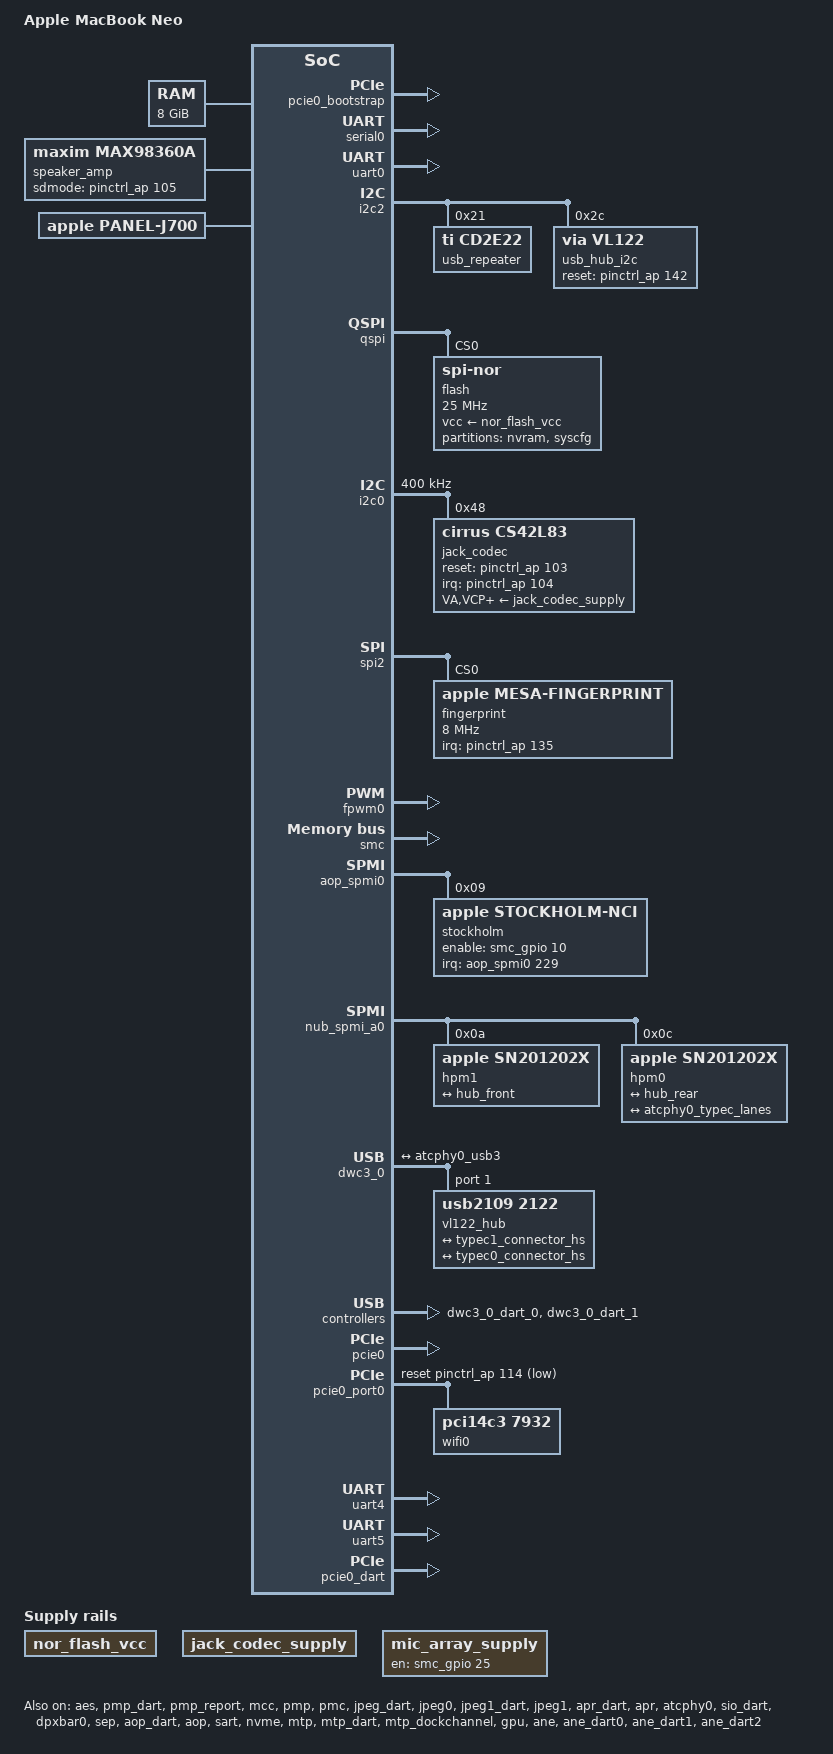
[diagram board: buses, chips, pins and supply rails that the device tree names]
// SPDX-License-Identifier: GPL-2.0+ OR MIT
/*
 * Apple MacBook Neo
 *
 * target-type: J700
 *
 * Copyright The Asahi Linux Contributors
 */

/dts-v1/;

#include "t8140.dtsi"
#include <dt-bindings/thermal/thermal.h>

/ {
	compatible = "apple,j700", "apple,t8140", "apple,arm-platform";
	model = "Apple MacBook Neo";
	chassis-type = "laptop";

	aliases {
		nvram = &nvram;
		spi0 = &qspi;
		i2c2 = &i2c2;
		atcphy0 = &atcphy0;
		gpu = &gpu;
		keyboard = &keyboard;
		sep = &sep;
		serial0 = &serial0;
		serial1 = &uart4;
		serial2 = &uart5;
		serial3 = &uart0;
		pmp = &pmp;
		/* First the RTC that can wake the system */
		rtc0 = &pmu_rtc;
		rtc1 = &smc_rtc;
		wifi0 = &wifi0;
		/* used by the loader to hand over the display */
		dcp = &dcp;
		disp0 = &display;
		disp0-piodma = &disp0_piodma;
		/* and the SIO, with its firmware */
		sio = &sio;
	};

	chosen {
		#address-cells = <2>;
		#size-cells = <2>;
		ranges;
		stdout-path = "serial0";
		/*
		 * Temporary: the secondary cores lose state in WFIT and the
		 * kernel does not yet stop using WFxT on T8140 by itself.
		 */
		bootargs = "arm64.nowfxt";

		framebuffer0: framebuffer@0 {
			compatible = "apple,simple-framebuffer", "simple-framebuffer";
			reg = <0 0 0 0>; /* To be filled by loader */
			power-domains = <&ps_disp_cpu>;
			/* Format properties will be added by loader */
			status = "disabled";
			panel = <&panel>;
			post-init-providers = <&panel>;
		};
	};

	reserved-memory {
		#address-cells = <2>;
		#size-cells = <2>;
		ranges;
		/* To be filled by loader */
	};

	memory@10000000000 {
		device_type = "memory";
		reg = <0x100 0 0x2 0>; /* To be filled by loader */
	};

	/*
	 * The boot NOR runs from a PMU rail that is on whenever the SoC is
	 * and that no OS switches. The ADT gives the flash no supply.
	 */
	nor_flash_vcc: regulator-nor-flash-vcc {
		compatible = "regulator-fixed";
		regulator-name = "nor-flash-vcc";
		regulator-always-on;
	};

	/*
	 * The J700 is fanless: the CPUs are the only cooling devices.  Every
	 * die sensor gets a zone that throttles both clusters, since they share
	 * one die and one heat spreader.  The power allocator splits the budget
	 * by the energy models, with the E cluster weighted three to one: its
	 * cores do several times more work per watt, so all-core loads keep
	 * them at full speed and trim the P cores instead.
	 *
	 * The SMC refreshes these readings about once a second, far slower
	 * than the die moves, so these zones are the slow outer loop.  The
	 * fast loop is the PMP's: it runs a PI controller on its own die
	 * sensors every few milliseconds and its effort caps each cluster
	 * through cpufreq (apple,fast-die-effort), as on macOS.  Under a
	 * sustained all-core load macOS holds the hottest SMC die reading at
	 * 105 C with the CPUs drawing 4.1-4.3 W, so the control trip is 105 C
	 * and sustainable-power is 4.2 W.  The governor derives its gains from
	 * that and the switch-on to control gap (91/183/18 mW per C).  Measured
	 * on 300 s of stress-ng on every CPU, against the earlier 95 C and
	 * 1.5 W: 9.4% more work, P cluster 3121 instead of 2476 MHz, CPUs
	 * 3.8 instead of 2.5 W, hottest die mean 102.8 C, p99 106.0 C, max
	 * 106.1 C, against the 110 C critical trip.  The P clock dithers
	 * between adjacent states (2916-3336 MHz).  The switch-on trip sits
	 * above the idle temperature with schedutil (48-53 C), so the
	 * controller, and with it any integral wind-up, resets whenever the
	 * machine rests.
	 *
	 * The governor grants no power to a cooling device that requests none,
	 * so above the switch-on trip an idle E cluster is sent to its lowest
	 * OPP, and work that wakes there runs at 816 MHz until the next
	 * evaluation.  With the performance governor the die idles at 58-70 C,
	 * above that trip, and in a ten-minute idle the E cluster spent 40% of
	 * its time capped this way.  The E maps therefore stop at cooling
	 * state 3, 1464 MHz, where the energy model puts the cost of the
	 * cluster's work within 0.5% of 816 MHz.  The lowest power of both
	 * clusters, 0.73 W, stays well under the 1.1 W sustainable on
	 * floating-point loads.
	 */
	thermal-zones {
		cpu-e0-thermal {
			polling-delay-passive = <500>;
			polling-delay = <500>;
			thermal-sensors = <&smc_hwmon 0>;	/* Te05 */
			sustainable-power = <4200>;

			trips {
				cpu_e0_alert: trip-alert {
					temperature = <58000>;
					hysteresis = <2000>;
					type = "passive";
				};

				cpu_e0_control: trip-control {
					temperature = <105000>;
					hysteresis = <2000>;
					type = "passive";
				};

				trip-critical {
					temperature = <110000>;
					hysteresis = <0>;
					type = "critical";
				};
			};

			cooling-maps {
				map0 {
					trip = <&cpu_e0_control>;
					cooling-device =
						<&cpu_p0 THERMAL_NO_LIMIT THERMAL_NO_LIMIT>,
						<&cpu_p1 THERMAL_NO_LIMIT THERMAL_NO_LIMIT>;
					contribution = <1024>;
				};

				map1 {
					trip = <&cpu_e0_control>;
					cooling-device =
						<&cpu_e0 THERMAL_NO_LIMIT 3>,
						<&cpu_e1 THERMAL_NO_LIMIT 3>,
						<&cpu_e2 THERMAL_NO_LIMIT 3>,
						<&cpu_e3 THERMAL_NO_LIMIT 3>;
					contribution = <3072>;
				};
			};
		};

		cpu-e1-thermal {
			polling-delay-passive = <500>;
			polling-delay = <500>;
			thermal-sensors = <&smc_hwmon 1>;	/* Te0S */
			sustainable-power = <4200>;

			trips {
				cpu_e1_alert: trip-alert {
					temperature = <58000>;
					hysteresis = <2000>;
					type = "passive";
				};

				cpu_e1_control: trip-control {
					temperature = <105000>;
					hysteresis = <2000>;
					type = "passive";
				};

				trip-critical {
					temperature = <110000>;
					hysteresis = <0>;
					type = "critical";
				};
			};

			cooling-maps {
				map0 {
					trip = <&cpu_e1_control>;
					cooling-device =
						<&cpu_p0 THERMAL_NO_LIMIT THERMAL_NO_LIMIT>,
						<&cpu_p1 THERMAL_NO_LIMIT THERMAL_NO_LIMIT>;
					contribution = <1024>;
				};

				map1 {
					trip = <&cpu_e1_control>;
					cooling-device =
						<&cpu_e0 THERMAL_NO_LIMIT 3>,
						<&cpu_e1 THERMAL_NO_LIMIT 3>,
						<&cpu_e2 THERMAL_NO_LIMIT 3>,
						<&cpu_e3 THERMAL_NO_LIMIT 3>;
					contribution = <3072>;
				};
			};
		};

		cpu-p0-thermal {
			polling-delay-passive = <500>;
			polling-delay = <500>;
			thermal-sensors = <&smc_hwmon 2>;	/* Tp01 */
			sustainable-power = <4200>;

			trips {
				cpu_p0_alert: trip-alert {
					temperature = <58000>;
					hysteresis = <2000>;
					type = "passive";
				};

				cpu_p0_control: trip-control {
					temperature = <105000>;
					hysteresis = <2000>;
					type = "passive";
				};

				trip-critical {
					temperature = <110000>;
					hysteresis = <0>;
					type = "critical";
				};
			};

			cooling-maps {
				map0 {
					trip = <&cpu_p0_control>;
					cooling-device =
						<&cpu_p0 THERMAL_NO_LIMIT THERMAL_NO_LIMIT>,
						<&cpu_p1 THERMAL_NO_LIMIT THERMAL_NO_LIMIT>;
					contribution = <1024>;
				};

				map1 {
					trip = <&cpu_p0_control>;
					cooling-device =
						<&cpu_e0 THERMAL_NO_LIMIT 3>,
						<&cpu_e1 THERMAL_NO_LIMIT 3>,
						<&cpu_e2 THERMAL_NO_LIMIT 3>,
						<&cpu_e3 THERMAL_NO_LIMIT 3>;
					contribution = <3072>;
				};
			};
		};

		cpu-p1-thermal {
			polling-delay-passive = <500>;
			polling-delay = <500>;
			thermal-sensors = <&smc_hwmon 3>;	/* Tp05 */
			sustainable-power = <4200>;

			trips {
				cpu_p1_alert: trip-alert {
					temperature = <58000>;
					hysteresis = <2000>;
					type = "passive";
				};

				cpu_p1_control: trip-control {
					temperature = <105000>;
					hysteresis = <2000>;
					type = "passive";
				};

				trip-critical {
					temperature = <110000>;
					hysteresis = <0>;
					type = "critical";
				};
			};

			cooling-maps {
				map0 {
					trip = <&cpu_p1_control>;
					cooling-device =
						<&cpu_p0 THERMAL_NO_LIMIT THERMAL_NO_LIMIT>,
						<&cpu_p1 THERMAL_NO_LIMIT THERMAL_NO_LIMIT>;
					contribution = <1024>;
				};

				map1 {
					trip = <&cpu_p1_control>;
					cooling-device =
						<&cpu_e0 THERMAL_NO_LIMIT 3>,
						<&cpu_e1 THERMAL_NO_LIMIT 3>,
						<&cpu_e2 THERMAL_NO_LIMIT 3>,
						<&cpu_e3 THERMAL_NO_LIMIT 3>;
					contribution = <3072>;
				};
			};
		};

		cpu-p2-thermal {
			polling-delay-passive = <500>;
			polling-delay = <500>;
			thermal-sensors = <&smc_hwmon 4>;	/* Tp09 */
			sustainable-power = <4200>;

			trips {
				cpu_p2_alert: trip-alert {
					temperature = <58000>;
					hysteresis = <2000>;
					type = "passive";
				};

				cpu_p2_control: trip-control {
					temperature = <105000>;
					hysteresis = <2000>;
					type = "passive";
				};

				trip-critical {
					temperature = <110000>;
					hysteresis = <0>;
					type = "critical";
				};
			};

			cooling-maps {
				map0 {
					trip = <&cpu_p2_control>;
					cooling-device =
						<&cpu_p0 THERMAL_NO_LIMIT THERMAL_NO_LIMIT>,
						<&cpu_p1 THERMAL_NO_LIMIT THERMAL_NO_LIMIT>;
					contribution = <1024>;
				};

				map1 {
					trip = <&cpu_p2_control>;
					cooling-device =
						<&cpu_e0 THERMAL_NO_LIMIT 3>,
						<&cpu_e1 THERMAL_NO_LIMIT 3>,
						<&cpu_e2 THERMAL_NO_LIMIT 3>,
						<&cpu_e3 THERMAL_NO_LIMIT 3>;
					contribution = <3072>;
				};
			};
		};

		cpu-p3-thermal {
			polling-delay-passive = <500>;
			polling-delay = <500>;
			thermal-sensors = <&smc_hwmon 5>;	/* Tp0D */
			sustainable-power = <4200>;

			trips {
				cpu_p3_alert: trip-alert {
					temperature = <58000>;
					hysteresis = <2000>;
					type = "passive";
				};

				cpu_p3_control: trip-control {
					temperature = <105000>;
					hysteresis = <2000>;
					type = "passive";
				};

				trip-critical {
					temperature = <110000>;
					hysteresis = <0>;
					type = "critical";
				};
			};

			cooling-maps {
				map0 {
					trip = <&cpu_p3_control>;
					cooling-device =
						<&cpu_p0 THERMAL_NO_LIMIT THERMAL_NO_LIMIT>,
						<&cpu_p1 THERMAL_NO_LIMIT THERMAL_NO_LIMIT>;
					contribution = <1024>;
				};

				map1 {
					trip = <&cpu_p3_control>;
					cooling-device =
						<&cpu_e0 THERMAL_NO_LIMIT 3>,
						<&cpu_e1 THERMAL_NO_LIMIT 3>,
						<&cpu_e2 THERMAL_NO_LIMIT 3>,
						<&cpu_e3 THERMAL_NO_LIMIT 3>;
					contribution = <3072>;
				};
			};
		};
	};

	/*
	 * The headphone codec runs from PMU rails that are on whenever the
	 * SoC is and that no OS switches. The ADT gives the codec a reset
	 * line and no supply or power function.
	 */
	jack_codec_supply: regulator-jack-codec {
		compatible = "regulator-fixed";
		regulator-name = "jack-codec";
		regulator-always-on;
	};

	/*
	 * The mic array's rail: SMC pcIO output 25, the ADT's
	 * function-input_power_enable. macOS switches it around each capture.
	 */
	mic_array_supply: regulator-mic-array {
		compatible = "regulator-fixed";
		regulator-name = "mic-array";
		gpio = <&smc_gpio 25 GPIO_ACTIVE_HIGH>;
		enable-active-high;
	};
};

#include "isp-imx558.dtsi"

/*
 * A J700 has one of the two video encoders, and its ADT describes the one
 * the unit has: ave (VENC0) or ave1 (VENC1). Both stay disabled here, with
 * encoder 0's power states and performance report; the bootloader enables
 * the encoder the ADT describes, its DARTs and its power states. On a unit
 * with ave1, VENC0_SYS refuses its target, so nothing may enable it there.
 */
&pmp_report_ave0 {
	status = "disabled";
};

&ps_venc0_sys {
	status = "disabled";
};

&ps_venc0_dma {
	status = "disabled";
};

&ps_venc0_pipe4 {
	status = "disabled";
};

&ps_venc0_pipe5 {
	status = "disabled";
};

&ps_venc0_me0 {
	status = "disabled";
};

&ps_venc0_me1 {
	status = "disabled";
};

&serial0 {
	status = "okay";
};

&uart0 {
	/* The PMGR clock provider is not enabled on this SoC yet. */
	clocks = <&clkref>, <&clkref>;
	status = "okay";
};

/* SIO AES engine, software keys only. */
&aes {
	status = "okay";
};

&pmp_dart {
	status = "okay";
};

&pmp_mbox {
	status = "okay";
};

&pmp_report {
	status = "okay";
};

&mcc {
	status = "okay";
};

&pmp {
	status = "okay";
};

&pmc {
	/*
	 * System power above DCS state 0 at each DCS state, GPU-bound.
	 *
	 * No thermal zone limits the DCS rail: the PMP drops its DCS vote
	 * when the GPU idles, and a power allocator zone on Tp0t made the
	 * limit oscillate between states 1 and 4 under GPU load. Without
	 * it Tp0t stays below the 110 C critical trips of the CPU zones.
	 */
	apple,dcs-power-microwatt = <0 919000 1453000 2058000 2407000>;
	status = "okay";
};

&pinctrl_ap {
	status = "okay";
};

&jpeg_dart {
	status = "okay";
};

&jpeg0 {
	status = "okay";
};

&jpeg1_dart {
	status = "okay";
};

&jpeg1 {
	status = "okay";
};

&apr_dart {
	status = "okay";
};

&apr {
	status = "okay";
};

&i2c2 {
	status = "okay";

	usb_repeater: phy@21 {
		compatible = "ti,cd2e22";
		reg = <0x21>;
		#phy-cells = <0>;
		ti,port = <0>;

		/* apple,tunable is filled from usb-repeater-i2c by the bootloader. */
	};

	usb_hub_i2c: usb-hub@2c {
		compatible = "via,vl122";
		reg = <0x2c>;
		reset-gpios = <&pinctrl_ap 142 GPIO_ACTIVE_HIGH>;
		usb-hub = <&vl122_hub>;

		/*
		 * apple,tunable-vl, apple,tunable-vlf0 and apple,tunable-gl are
		 * filled from usb-hub-i2c by the bootloader.
		 */
	};
};

&atcphy0 {
	phys = <&usb_repeater>;
	phy-names = "eusb2-repeater";
};

&qspi {
	status = "okay";

	flash@0 {
		compatible = "jedec,spi-nor";
		reg = <0>;
		spi-max-frequency = <25000000>;
		vcc-supply = <&nor_flash_vcc>;

		partitions {
			compatible = "fixed-partitions";
			#address-cells = <1>;
			#size-cells = <1>;

			nvram: partition@24000 {
				label = "nvram";
				reg = <0x24000 0x1d0000>;
			};

			/*
			 * syscfg factory data. Listed after nvram so the nvram
			 * MTD index stays the same.
			 */
			partition@0 {
				label = "syscfg";
				reg = <0x0 0x24000>;
				read-only;
			};
		};
	};
};

&dcp_mbox {
	status = "okay";
};

&dcp_secure_mbox {
	status = "okay";
};

/* The SIO itself is enabled by the loader that hands it over. */
&sio_dart {
	status = "okay";
};

&sio_mbox {
	status = "okay";
};

&dcp {
	/*
	 * The camera has no indicator light: the kernel shows its software
	 * camera indicator in swap slot 1, above the surface DRM uses. Slot 2
	 * stays hidden under an opaque primary such as GNOME's.
	 */
	apple,camera-indicator-surface = <1>;

	/* 2408x1506 at 219 ppi; 525 nits peak from the backlight node */
	panel: panel {
		compatible = "apple,panel-j700", "apple,panel";
		width-mm = <279>;
		height-mm = <175>;
		apple,max-brightness = <525>;
	};
};

&dpxbar0 {
	status = "okay";
};

&cpuidle {
	status = "okay";
};

&i2c0 {
	status = "okay";
	/* The ADT gives the codec, alone on this bus, a 2500 ns SCL period. */
	clock-frequency = <400000>;

	jack_codec: codec@48 {
		compatible = "cirrus,cs42l83";
		reg = <0x48>;
		VA-supply = <&jack_codec_supply>;
		VCP-supply = <&jack_codec_supply>;
		VD_FILT-supply = <&jack_codec_supply>;
		VL-supply = <&jack_codec_supply>;
		VP-supply = <&jack_codec_supply>;
		reset-gpios = <&pinctrl_ap 103 GPIO_ACTIVE_HIGH>;
		interrupt-parent = <&pinctrl_ap>;
		interrupts = <104 IRQ_TYPE_LEVEL_LOW>;
		#sound-dai-cells = <0>;
		cirrus,ts-inv = <1>;
		sound-name-prefix = "Jack";
	};
};

&sep {
	status = "okay";
};

/*
 * Touch ID sensor.  Its rails are switched by the SMC through the pcLD key
 * rather than by a GPIO; the rail words are given in power-on order.  The
 * calibration file is per-device factory data and is not redistributable.
 */
&spi2 {
	status = "okay";

	fingerprint@0 {
		compatible = "apple,mesa-fingerprint";
		reg = <0>;
		spi-max-frequency = <8000000>;
		spi-cpol;
		spi-cs-setup-delay-ns = <20>;
		spi-cs-hold-delay-ns = <20>;
		interrupt-parent = <&pinctrl_ap>;
		interrupts = <135 IRQ_TYPE_EDGE_RISING>;
		apple,smc = <&smc>;
		apple,smc-power-key = "pcLD";
		apple,smc-power-rails = <0x01010000 0x01020000>;
		firmware-name = "apple/mesacal-j700.bin";
	};
};

&isp {
	apple,platform-id = <0x70>;
	apple,temporal-filter = <1>;
	apple,camera-indicator = <&dcp>;
};

&aop_dart {
	status = "okay";
};

&aop_mbox {
	status = "okay";
};

&aop_setup_mbox {
	status = "okay";
};

&aop {
	status = "okay";
};

&aop_als {
	firmware-name = "apple/j700-aop-als-cal.bin";
};

&aop_audio {
	apple,chassis-name = "J700";
	apple,machine-kind = "MacBook Neo";
	mic-supply = <&mic_array_supply>;
};

&admac_leap_ns {
	status = "okay";
};

&admac_base_ns {
	status = "okay";
};

&admac_leap_s {
	status = "okay";
};

/ {
	speaker_amp: audio-amplifier {
		compatible = "maxim,max98360a";
		sdmode-gpios = <&pinctrl_ap 105 GPIO_ACTIVE_HIGH>;
		#sound-dai-cells = <0>;
		sound-name-prefix = "Speaker";
	};
	sound {
		compatible = "apple,j700-macaudio", "apple,macaudio";
		model = "MacBook Neo J700";
		#address-cells = <1>;
		#size-cells = <0>;

		dai-link@0 {
			reg = <0>;
			link-name = "Headphone Jack";

			cpu {
				sound-dai = <&aop_audio 0>;
			};
			codec {
				sound-dai = <&jack_codec>;
			};
		};

		dai-link@1 {
			reg = <1>;
			link-name = "Speaker";

			cpu {
				sound-dai = <&aop_audio 4>;
			};
			codec {
				sound-dai = <&speaker_amp>;
			};
		};
	};
};

/* A spare PWM channel for developers; no consumer is known. */
&fpwm0 {
	status = "okay";
};

&smc {
	status = "okay";
};

/*
 * The AOP's GPIO bank. The AOP keeps interrupt groups 0-3; the AP's are 4-6
 * (AIC 384-386). No consumer requests a line yet. The reserved lines are the
 * ones the firmware has already configured away from the bank's reset state
 * by the time Linux boots; their users are not known, so they stay off limits.
 */
&pinctrl_aop {
	gpio-reserved-ranges = <18 1>, <21 1>, <27 9>, <46 2>, <50 7>;
	interrupts = <AIC_IRQ 384 IRQ_TYPE_LEVEL_HIGH>,
		     <AIC_IRQ 385 IRQ_TYPE_LEVEL_HIGH>,
		     <AIC_IRQ 386 IRQ_TYPE_LEVEL_HIGH>;
	apple,irq-group-base = <4>;
	status = "okay";
};

/*
 * The always-on GPIO bank, as on the J616s: the AP takes none of its
 * interrupts. Line 20 is the secure-repair enable and is never requested;
 * the other reserved lines are configured by the firmware before Linux
 * boots (line 27 is driven high) and have no known user.
 */
&pinctrl_nub {
	gpio-reserved-ranges = <5 1>, <10 1>, <20 1>, <23 1>, <27 3>;
	status = "okay";
	/delete-property/ interrupt-controller;
	/delete-property/ #interrupt-cells;
	/delete-property/ interrupts;
};

&smc_gpio {
	apple,pcio-templates = <10 0x800000 0xa0000>,
			       <25 0x0 0x190000>;
};

&aop_spmi0 {
	status = "okay";

	stockholm: nfc@9 {
		compatible = "apple,stockholm-nci";
		reg = <9 SPMI_USID>;
		interrupt-parent = <&aop_spmi0>;
		interrupts = <229 IRQ_TYPE_EDGE_RISING>,
			     <230 IRQ_TYPE_EDGE_RISING>,
			     <227 IRQ_TYPE_EDGE_RISING>;
		interrupt-names = "host-wake", "data-ready", "error";
		enable-gpios = <&smc_gpio 10 GPIO_ACTIVE_HIGH>;
	};
};

&smc_hwmon {
	apple,thermal-pressure-key = "mTPL";

	/*
	 * Further channels, reported to userspace. They follow the six CPU
	 * die temperatures in t8140.dtsi, which the thermal zones above
	 * refer to by index.
	 * Every key below is in the J700 SMC's key table as a read-only
	 * float, reads 10-99 C and moves between samples. The names follow
	 * the SMC key groups and are not otherwise verified.
	 */

	/* Channel 6: reads at or above every CPU die sensor under GPU load. */
	temperature-Tp0t {
		apple,key-id = "Tp0t";
		label = "SMC Tp0t";
	};

	temperature-TH0p {
		apple,key-id = "TH0p";
		label = "Storage (NAND)";
	};

	temperature-TW0p {
		apple,key-id = "TW0p";
		label = "Wi-Fi Module";
	};

	temperature-TUCp {
		apple,key-id = "TUCp";
		label = "USB-C Port";
	};

	temperature-TaTp {
		apple,key-id = "TaTp";
		label = "Ambient";
	};

	temperature-TCMz {
		apple,key-id = "TCMz";
		label = "Charger";
	};

	temperature-Ts0A {
		apple,key-id = "Ts0A";
		label = "Chassis 1";
	};

	temperature-Ts0I {
		apple,key-id = "Ts0I";
		label = "Chassis 2";
	};

	temperature-Ts0M {
		apple,key-id = "Ts0M";
		label = "Chassis 3";
	};

	/* The remaining live temperature keys; placement unknown */
	temperature-TBLp {
		apple,key-id = "TBLp";
		label = "SMC TBLp";
	};

	temperature-TCMb {
		apple,key-id = "TCMb";
		label = "SMC TCMb";
	};

	temperature-TPD0 {
		apple,key-id = "TPD0";
		label = "SMC TPD0";
	};

	temperature-TPD1 {
		apple,key-id = "TPD1";
		label = "SMC TPD1";
	};

	temperature-TPD2 {
		apple,key-id = "TPD2";
		label = "SMC TPD2";
	};

	temperature-TPD3 {
		apple,key-id = "TPD3";
		label = "SMC TPD3";
	};

	temperature-TPD4 {
		apple,key-id = "TPD4";
		label = "SMC TPD4";
	};

	temperature-TPD5 {
		apple,key-id = "TPD5";
		label = "SMC TPD5";
	};

	temperature-TPD6 {
		apple,key-id = "TPD6";
		label = "SMC TPD6";
	};

	temperature-TR5p {
		apple,key-id = "TR5p";
		label = "SMC TR5p";
	};

	temperature-TRD0 {
		apple,key-id = "TRD0";
		label = "SMC TRD0";
	};

	temperature-TRD1 {
		apple,key-id = "TRD1";
		label = "SMC TRD1";
	};

	temperature-TRD2 {
		apple,key-id = "TRD2";
		label = "SMC TRD2";
	};

	temperature-TRD3 {
		apple,key-id = "TRD3";
		label = "SMC TRD3";
	};

	temperature-TS0p {
		apple,key-id = "TS0p";
		label = "SMC TS0p";
	};

	temperature-TS1p {
		apple,key-id = "TS1p";
		label = "SMC TS1p";
	};

	temperature-TTSp {
		apple,key-id = "TTSp";
		label = "SMC TTSp";
	};

	temperature-TVA0 {
		apple,key-id = "TVA0";
		label = "SMC TVA0";
	};

	temperature-TVA1 {
		apple,key-id = "TVA1";
		label = "SMC TVA1";
	};

	temperature-TVD0 {
		apple,key-id = "TVD0";
		label = "SMC TVD0";
	};

	temperature-TVMR {
		apple,key-id = "TVMR";
		label = "SMC TVMR";
	};

	temperature-TVS0 {
		apple,key-id = "TVS0";
		label = "SMC TVS0";
	};

	temperature-TVS1 {
		apple,key-id = "TVS1";
		label = "SMC TVS1";
	};

	temperature-TVS3 {
		apple,key-id = "TVS3";
		label = "SMC TVS3";
	};

	temperature-TVS4 {
		apple,key-id = "TVS4";
		label = "SMC TVS4";
	};

	temperature-TVmS {
		apple,key-id = "TVmS";
		label = "SMC TVmS";
	};

	temperature-Te04 {
		apple,key-id = "Te04";
		label = "SMC Te04";
	};

	temperature-Te06 {
		apple,key-id = "Te06";
		label = "SMC Te06";
	};

	temperature-Te0R {
		apple,key-id = "Te0R";
		label = "SMC Te0R";
	};

	temperature-Te0T {
		apple,key-id = "Te0T";
		label = "SMC Te0T";
	};

	temperature-Tex0 {
		apple,key-id = "Tex0";
		label = "SMC Tex0";
	};

	temperature-Tex1 {
		apple,key-id = "Tex1";
		label = "SMC Tex1";
	};

	temperature-Tex2 {
		apple,key-id = "Tex2";
		label = "SMC Tex2";
	};

	temperature-Tex3 {
		apple,key-id = "Tex3";
		label = "SMC Tex3";
	};

	temperature-Tp00 {
		apple,key-id = "Tp00";
		label = "SMC Tp00";
	};

	temperature-Tp02 {
		apple,key-id = "Tp02";
		label = "SMC Tp02";
	};

	temperature-Tp04 {
		apple,key-id = "Tp04";
		label = "SMC Tp04";
	};

	temperature-Tp06 {
		apple,key-id = "Tp06";
		label = "SMC Tp06";
	};

	temperature-Tp08 {
		apple,key-id = "Tp08";
		label = "SMC Tp08";
	};

	temperature-Tp0A {
		apple,key-id = "Tp0A";
		label = "SMC Tp0A";
	};

	temperature-Tp0C {
		apple,key-id = "Tp0C";
		label = "SMC Tp0C";
	};

	temperature-Tp0E {
		apple,key-id = "Tp0E";
		label = "SMC Tp0E";
	};

	temperature-Tp0l {
		apple,key-id = "Tp0l";
		label = "SMC Tp0l";
	};

	temperature-Tp0m {
		apple,key-id = "Tp0m";
		label = "SMC Tp0m";
	};

	temperature-Tp0n {
		apple,key-id = "Tp0n";
		label = "SMC Tp0n";
	};

	temperature-Tp0o {
		apple,key-id = "Tp0o";
		label = "SMC Tp0o";
	};

	temperature-Tp0q {
		apple,key-id = "Tp0q";
		label = "SMC Tp0q";
	};

	temperature-Tpx0 {
		apple,key-id = "Tpx0";
		label = "SMC Tpx0";
	};

	temperature-Tpx1 {
		apple,key-id = "Tpx1";
		label = "SMC Tpx1";
	};

	temperature-Tpx2 {
		apple,key-id = "Tpx2";
		label = "SMC Tpx2";
	};

	temperature-Tpx3 {
		apple,key-id = "Tpx3";
		label = "SMC Tpx3";
	};

	temperature-Ts00 {
		apple,key-id = "Ts00";
		label = "SMC Ts00";
	};

	temperature-Ts01 {
		apple,key-id = "Ts01";
		label = "SMC Ts01";
	};

	temperature-Ts02 {
		apple,key-id = "Ts02";
		label = "SMC Ts02";
	};

	temperature-Ts04 {
		apple,key-id = "Ts04";
		label = "SMC Ts04";
	};

	temperature-Ts05 {
		apple,key-id = "Ts05";
		label = "SMC Ts05";
	};

	temperature-Ts06 {
		apple,key-id = "Ts06";
		label = "SMC Ts06";
	};

	temperature-Ts08 {
		apple,key-id = "Ts08";
		label = "SMC Ts08";
	};

	temperature-Ts09 {
		apple,key-id = "Ts09";
		label = "SMC Ts09";
	};

	temperature-Ts0C {
		apple,key-id = "Ts0C";
		label = "SMC Ts0C";
	};

	temperature-Ts0D {
		apple,key-id = "Ts0D";
		label = "SMC Ts0D";
	};

	temperature-Ts0E {
		apple,key-id = "Ts0E";
		label = "SMC Ts0E";
	};

	temperature-Ts0G {
		apple,key-id = "Ts0G";
		label = "SMC Ts0G";
	};

	temperature-Ts0H {
		apple,key-id = "Ts0H";
		label = "SMC Ts0H";
	};

	temperature-Ts0K {
		apple,key-id = "Ts0K";
		label = "SMC Ts0K";
	};

	temperature-Ts0L {
		apple,key-id = "Ts0L";
		label = "SMC Ts0L";
	};

	temperature-Tsx0 {
		apple,key-id = "Tsx0";
		label = "SMC Tsx0";
	};

	temperature-Tsx1 {
		apple,key-id = "Tsx1";
		label = "SMC Tsx1";
	};

	/*
	 * GPU temperatures, last so the indexed channels above keep their
	 * numbers. The SMC publishes them only while the GPU is powered; with
	 * the GPU off they read -4.0 to 0.2 C placeholders, which are no data.
	 */
	temperature-Tg04 {
		apple,key-id = "Tg04";
		label = "GPU Tg04";
		apple,no-data-below-millicelsius = <10000>;
	};

	temperature-Tg05 {
		apple,key-id = "Tg05";
		label = "GPU Tg05";
		apple,no-data-below-millicelsius = <10000>;
	};

	temperature-Tg0C {
		apple,key-id = "Tg0C";
		label = "GPU Tg0C";
		apple,no-data-below-millicelsius = <10000>;
	};

	temperature-Tg0D {
		apple,key-id = "Tg0D";
		label = "GPU Tg0D";
		apple,no-data-below-millicelsius = <10000>;
	};

	temperature-Tg0K {
		apple,key-id = "Tg0K";
		label = "GPU Tg0K";
		apple,no-data-below-millicelsius = <10000>;
	};

	temperature-Tg0L {
		apple,key-id = "Tg0L";
		label = "GPU Tg0L";
		apple,no-data-below-millicelsius = <10000>;
	};

	temperature-Tg0d {
		apple,key-id = "Tg0d";
		label = "GPU Tg0d";
		apple,no-data-below-millicelsius = <10000>;
	};

	temperature-Tg0e {
		apple,key-id = "Tg0e";
		label = "GPU Tg0e";
		apple,no-data-below-millicelsius = <10000>;
	};

	/*
	 * Current, power and voltage rails: every other read-only float
	 * I*, P* and V* key in the J700 SMC's key table. The units follow
	 * the prefix (amperes, watts, volts); the rails they measure are not
	 * known, so they carry the raw key. Some read zero while idle.
	 */
	current-IBat {
		apple,key-id = "IBat";
		label = "SMC IBat";
	};

	current-IBws {
		apple,key-id = "IBws";
		label = "SMC IBws";
	};

	current-IP0b {
		apple,key-id = "IP0b";
		label = "SMC IP0b";
	};

	current-IP1b {
		apple,key-id = "IP1b";
		label = "SMC IP1b";
	};

	current-IP1l {
		apple,key-id = "IP1l";
		label = "SMC IP1l";
	};

	current-IP2b {
		apple,key-id = "IP2b";
		label = "SMC IP2b";
	};

	current-IP3b {
		apple,key-id = "IP3b";
		label = "SMC IP3b";
	};

	current-IP3l {
		apple,key-id = "IP3l";
		label = "SMC IP3l";
	};

	current-IP4b {
		apple,key-id = "IP4b";
		label = "SMC IP4b";
	};

	current-IP4l {
		apple,key-id = "IP4l";
		label = "SMC IP4l";
	};

	current-IP5b {
		apple,key-id = "IP5b";
		label = "SMC IP5b";
	};

	current-IP5l {
		apple,key-id = "IP5l";
		label = "SMC IP5l";
	};

	current-IP6b {
		apple,key-id = "IP6b";
		label = "SMC IP6b";
	};

	current-IP6l {
		apple,key-id = "IP6l";
		label = "SMC IP6l";
	};

	current-IP7b {
		apple,key-id = "IP7b";
		label = "SMC IP7b";
	};

	current-IP8b {
		apple,key-id = "IP8b";
		label = "SMC IP8b";
	};

	current-IP9l {
		apple,key-id = "IP9l";
		label = "SMC IP9l";
	};

	current-IPMC {
		apple,key-id = "IPMC";
		label = "SMC IPMC";
	};

	current-IPab {
		apple,key-id = "IPab";
		label = "SMC IPab";
	};

	current-IPbb {
		apple,key-id = "IPbb";
		label = "SMC IPbb";
	};

	current-IPbl {
		apple,key-id = "IPbl";
		label = "SMC IPbl";
	};

	current-IPcb {
		apple,key-id = "IPcb";
		label = "SMC IPcb";
	};

	current-IPcl {
		apple,key-id = "IPcl";
		label = "SMC IPcl";
	};

	current-IPdb {
		apple,key-id = "IPdb";
		label = "SMC IPdb";
	};

	current-IPgl {
		apple,key-id = "IPgl";
		label = "SMC IPgl";
	};

	current-IPhl {
		apple,key-id = "IPhl";
		label = "SMC IPhl";
	};

	current-IPil {
		apple,key-id = "IPil";
		label = "SMC IPil";
	};

	current-IR1l {
		apple,key-id = "IR1l";
		label = "SMC IR1l";
	};

	current-IR2l {
		apple,key-id = "IR2l";
		label = "SMC IR2l";
	};

	current-IRil {
		apple,key-id = "IRil";
		label = "SMC IRil";
	};

	current-Ib0f {
		apple,key-id = "Ib0f";
		label = "SMC Ib0f";
	};

	current-Ib1f {
		apple,key-id = "Ib1f";
		label = "SMC Ib1f";
	};

	power-PBat {
		apple,key-id = "PBat";
		label = "SMC PBat";
	};

	power-PBwo {
		apple,key-id = "PBwo";
		label = "SMC PBwo";
	};

	power-PDCP {
		apple,key-id = "PDCP";
		label = "SMC PDCP";
	};

	power-PDTP {
		apple,key-id = "PDTP";
		label = "SMC PDTP";
	};

	power-PP0b {
		apple,key-id = "PP0b";
		label = "SMC PP0b";
	};

	power-PP1b {
		apple,key-id = "PP1b";
		label = "SMC PP1b";
	};

	power-PP1l {
		apple,key-id = "PP1l";
		label = "SMC PP1l";
	};

	power-PP2b {
		apple,key-id = "PP2b";
		label = "SMC PP2b";
	};

	power-PP3b {
		apple,key-id = "PP3b";
		label = "SMC PP3b";
	};

	power-PP3l {
		apple,key-id = "PP3l";
		label = "SMC PP3l";
	};

	power-PP4b {
		apple,key-id = "PP4b";
		label = "SMC PP4b";
	};

	power-PP4l {
		apple,key-id = "PP4l";
		label = "SMC PP4l";
	};

	power-PP5b {
		apple,key-id = "PP5b";
		label = "SMC PP5b";
	};

	power-PP5l {
		apple,key-id = "PP5l";
		label = "SMC PP5l";
	};

	power-PP6b {
		apple,key-id = "PP6b";
		label = "SMC PP6b";
	};

	power-PP6l {
		apple,key-id = "PP6l";
		label = "SMC PP6l";
	};

	power-PP7b {
		apple,key-id = "PP7b";
		label = "SMC PP7b";
	};

	power-PP8b {
		apple,key-id = "PP8b";
		label = "SMC PP8b";
	};

	power-PP9l {
		apple,key-id = "PP9l";
		label = "SMC PP9l";
	};

	power-PPBR {
		apple,key-id = "PPBR";
		label = "SMC PPBR";
	};

	power-PPMC {
		apple,key-id = "PPMC";
		label = "SMC PPMC";
	};

	power-PPSM {
		apple,key-id = "PPSM";
		label = "SMC PPSM";
	};

	power-PPab {
		apple,key-id = "PPab";
		label = "SMC PPab";
	};

	power-PPbb {
		apple,key-id = "PPbb";
		label = "SMC PPbb";
	};

	power-PPbl {
		apple,key-id = "PPbl";
		label = "SMC PPbl";
	};

	power-PPcb {
		apple,key-id = "PPcb";
		label = "SMC PPcb";
	};

	power-PPcl {
		apple,key-id = "PPcl";
		label = "SMC PPcl";
	};

	power-PPdb {
		apple,key-id = "PPdb";
		label = "SMC PPdb";
	};

	power-PPgl {
		apple,key-id = "PPgl";
		label = "SMC PPgl";
	};

	power-PPhl {
		apple,key-id = "PPhl";
		label = "SMC PPhl";
	};

	power-PPil {
		apple,key-id = "PPil";
		label = "SMC PPil";
	};

	power-PR1l {
		apple,key-id = "PR1l";
		label = "SMC PR1l";
	};

	power-PR2l {
		apple,key-id = "PR2l";
		label = "SMC PR2l";
	};

	power-PRil {
		apple,key-id = "PRil";
		label = "SMC PRil";
	};

	power-PZC0 {
		apple,key-id = "PZC0";
		label = "SMC PZC0";
	};

	power-PZC1 {
		apple,key-id = "PZC1";
		label = "SMC PZC1";
	};

	power-PZCB {
		apple,key-id = "PZCB";
		label = "SMC PZCB";
	};

	power-PZCU {
		apple,key-id = "PZCU";
		label = "SMC PZCU";
	};

	power-PZD1 {
		apple,key-id = "PZD1";
		label = "SMC PZD1";
	};

	power-PZT0 {
		apple,key-id = "PZT0";
		label = "SMC PZT0";
	};

	power-Pb0f {
		apple,key-id = "Pb0f";
		label = "SMC Pb0f";
	};

	power-Pb1f {
		apple,key-id = "Pb1f";
		label = "SMC Pb1f";
	};

	power-Pb2f {
		apple,key-id = "Pb2f";
		label = "SMC Pb2f";
	};

	voltage-VBat {
		apple,key-id = "VBat";
		label = "SMC VBat";
	};

	voltage-VP0R {
		apple,key-id = "VP0R";
		label = "SMC VP0R";
	};

	voltage-VP0b {
		apple,key-id = "VP0b";
		label = "SMC VP0b";
	};

	voltage-VP0s {
		apple,key-id = "VP0s";
		label = "SMC VP0s";
	};

	voltage-VP1b {
		apple,key-id = "VP1b";
		label = "SMC VP1b";
	};

	voltage-VP1l {
		apple,key-id = "VP1l";
		label = "SMC VP1l";
	};

	voltage-VP1s {
		apple,key-id = "VP1s";
		label = "SMC VP1s";
	};

	voltage-VP2b {
		apple,key-id = "VP2b";
		label = "SMC VP2b";
	};

	voltage-VP3b {
		apple,key-id = "VP3b";
		label = "SMC VP3b";
	};

	voltage-VP3l {
		apple,key-id = "VP3l";
		label = "SMC VP3l";
	};

	voltage-VP3s {
		apple,key-id = "VP3s";
		label = "SMC VP3s";
	};

	voltage-VP4b {
		apple,key-id = "VP4b";
		label = "SMC VP4b";
	};

	voltage-VP4l {
		apple,key-id = "VP4l";
		label = "SMC VP4l";
	};

	voltage-VP4s {
		apple,key-id = "VP4s";
		label = "SMC VP4s";
	};

	voltage-VP5b {
		apple,key-id = "VP5b";
		label = "SMC VP5b";
	};

	voltage-VP5l {
		apple,key-id = "VP5l";
		label = "SMC VP5l";
	};

	voltage-VP5s {
		apple,key-id = "VP5s";
		label = "SMC VP5s";
	};

	voltage-VP6b {
		apple,key-id = "VP6b";
		label = "SMC VP6b";
	};

	voltage-VP6l {
		apple,key-id = "VP6l";
		label = "SMC VP6l";
	};

	voltage-VP7b {
		apple,key-id = "VP7b";
		label = "SMC VP7b";
	};

	voltage-VP8b {
		apple,key-id = "VP8b";
		label = "SMC VP8b";
	};

	voltage-VP9l {
		apple,key-id = "VP9l";
		label = "SMC VP9l";
	};

	voltage-VPBR {
		apple,key-id = "VPBR";
		label = "SMC VPBR";
	};

	voltage-VPab {
		apple,key-id = "VPab";
		label = "SMC VPab";
	};

	voltage-VPbb {
		apple,key-id = "VPbb";
		label = "SMC VPbb";
	};

	voltage-VPbl {
		apple,key-id = "VPbl";
		label = "SMC VPbl";
	};

	voltage-VPcb {
		apple,key-id = "VPcb";
		label = "SMC VPcb";
	};

	voltage-VPcl {
		apple,key-id = "VPcl";
		label = "SMC VPcl";
	};

	voltage-VPdb {
		apple,key-id = "VPdb";
		label = "SMC VPdb";
	};

	voltage-VPgl {
		apple,key-id = "VPgl";
		label = "SMC VPgl";
	};

	voltage-VPhl {
		apple,key-id = "VPhl";
		label = "SMC VPhl";
	};

	voltage-VPil {
		apple,key-id = "VPil";
		label = "SMC VPil";
	};

	voltage-VR1l {
		apple,key-id = "VR1l";
		label = "SMC VR1l";
	};

	voltage-VR2l {
		apple,key-id = "VR2l";
		label = "SMC VR2l";
	};

	voltage-VR5c {
		apple,key-id = "VR5c";
		label = "SMC VR5c";
	};

	voltage-VRbi {
		apple,key-id = "VRbi";
		label = "SMC VRbi";
	};

	voltage-VRil {
		apple,key-id = "VRil";
		label = "SMC VRil";
	};

	voltage-VRmi {
		apple,key-id = "VRmi";
		label = "SMC VRmi";
	};

	voltage-VRwo {
		apple,key-id = "VRwo";
		label = "SMC VRwo";
	};

	voltage-Vb1f {
		apple,key-id = "Vb1f";
		label = "SMC Vb1f";
	};

	voltage-Vb3f {
		apple,key-id = "Vb3f";
		label = "SMC Vb3f";
	};
};

&smc_mbox {
	status = "okay";
};

&ans_mbox {
	status = "okay";
};

&sart {
	status = "okay";
};

&nvme {
	status = "okay";
};

&mtp {
	status = "okay";
};

&mtp_mbox {
	status = "okay";
};

&mtp_dart {
	status = "okay";
};

&mtp_dockchannel {
	status = "okay";
};

&mtp_hid {
	apple,no-stm;
	/* SMC pcIO output 19; level 1 asserts the reset */
	apple,afe-reset-gpios = <&smc_gpio 19 GPIO_ACTIVE_HIGH>;

	multi-touch {
		compatible = "apple,j700-multitouch";
		firmware-name = "apple/tpmtfw-j700.bin";
		apple,power-method = <2>;
	};

	keyboard: keyboard {
		hid-country-code = <0>;
		apple,keyboard-layout-id = <0>;
	};
};

&sleep {
	apple,debug-port = <&hpm0>;
};

/*
 * USB PD controllers, on the nub SPMI A0 bus. macOS sends them SSPS 3 and 0 around a sleep
 * and nothing else: no USBw, as the J700 ADT has no dock-remote-wake. A USB key press
 * wakes the J700 through the host's own wake source.
 */
&nub_spmi_a0 {
	status = "okay";

	hpm1: usb-pd@a {
		compatible = "apple,sn201202x";
		reg = <0xa SPMI_USID>;
		apple,sleep-ssps;
		interrupts = <37 IRQ_TYPE_EDGE_RISING>,
			     <39 IRQ_TYPE_EDGE_RISING>,
			     <43 IRQ_TYPE_EDGE_RISING>,
			     <45 IRQ_TYPE_EDGE_RISING>;
		interrupt-names = "irq", "select", "sleep", "wake";

		typec1: connector {
			compatible = "usb-c-connector";
			label = "USB-C Left-front";
			power-role = "dual";
			data-role = "host";

			/* USB 2.0 only, through the fixed hub */
			port {
				typec1_connector_hs: endpoint {
					remote-endpoint = <&hub_front>;
				};
			};
		};
	};

	hpm0: usb-pd@c {
		compatible = "apple,sn201202x";
		reg = <0xc SPMI_USID>;
		apple,debug-lock-key = "007J";
		apple,sleep-ssps;
		interrupts = <11 IRQ_TYPE_EDGE_RISING>,
			     <13 IRQ_TYPE_EDGE_RISING>,
			     <17 IRQ_TYPE_EDGE_RISING>,
			     <19 IRQ_TYPE_EDGE_RISING>;
		interrupt-names = "irq", "select", "sleep", "wake";

		typec0: connector {
			compatible = "usb-c-connector";
			label = "USB-C Left-back";
			power-role = "dual";
			data-role = "host";

			ports {
				#address-cells = <1>;
				#size-cells = <0>;

				port@0 {
					reg = <0>;

					typec0_connector_hs: endpoint {
						remote-endpoint = <&hub_rear>;
					};
				};

				port@1 {
					reg = <1>;

					typec0_connector_ss: endpoint {
						remote-endpoint = <&atcphy0_typec_lanes>;
					};
				};
			};
		};
	};
};

/*
 * The controller's USB 2.0 pairs go to a VIA VL122 two-port hub on the
 * board (USB ID 2109:2122) whose downstream ports serve the two Type-C
 * connectors; only the back connector also has SuperSpeed lanes, wired
 * straight to the PHY. The controller is therefore always a host.
 */
&dwc3_0 {
	status = "okay";
	#address-cells = <1>;
	#size-cells = <0>;

	vl122_hub: hub@1 {
		compatible = "usb2109,2122";
		reg = <1>;

		ports {
			#address-cells = <1>;
			#size-cells = <0>;

			port@1 {
				reg = <1>;

				hub_front: endpoint {
					remote-endpoint = <&typec1_connector_hs>;
				};
			};

			port@2 {
				reg = <2>;

				hub_rear: endpoint {
					remote-endpoint = <&typec0_connector_hs>;
				};
			};
		};
	};

	ports {
		#address-cells = <1>;
		#size-cells = <0>;

		/* Raw xHCI port 1 is USB2; raw port 2 is SuperSpeed. */
		port@2 {
			reg = <2>;

			dwc3_0_ss: endpoint {
				remote-endpoint = <&atcphy0_usb3>;
			};
		};
	};
};

&dwc3_0_dart_0 {
	status = "okay";
};

&dwc3_0_dart_1 {
	status = "okay";
};

&atcphy0 {
	status = "okay";

	ports {
		#address-cells = <1>;
		#size-cells = <0>;

		port@0 {
			reg = <0>;

			atcphy0_typec_lanes: endpoint {
				remote-endpoint = <&typec0_connector_ss>;
			};
		};

		port@1 {
			reg = <1>;

			atcphy0_usb3: endpoint {
				remote-endpoint = <&dwc3_0_ss>;
			};
		};
	};
};

&gfx_mbox {
	status = "okay";
};

&gfx1_mbox {
	status = "okay";
};

&gpu {
	status = "okay";
};

#include "hwmon-common.dtsi"
#include "hwmon-laptop.dtsi"

/*
 * The J700 SMC has no keys for these shared laptop sensors. On T8140 the
 * temperature channels are indexed for the thermal zones, so a missing
 * temperature key keeps an empty, hidden channel and is reported at every
 * boot. The NAND temperature is described above as Storage (NAND).
 */
&smc_hwmon {
	/delete-node/ power-PMVR;
	/delete-node/ power-PHPC;
	/delete-node/ temperature-TH0x;
	/delete-node/ temperature-TCHP;
	/delete-node/ temperature-TW0P;
};

&pcie0 {
	/* The PIODMA guard stays closed until the retained bootstrap succeeds. */
	apple,piodma = <&pcie0_bootstrap>;
	iommu-map = <0x100 &pcie0_dart 1 2>;
	iommu-map-mask = <0xffff>;
	pinctrl-0 = <&pcie0_clkreq>;
	pinctrl-names = "default";
	status = "okay";
};

&pcie0_port0 {
	reset-gpios = <&pinctrl_ap 114 GPIO_ACTIVE_LOW>;
	pwren-gpios = <&smc_gpio 8 GPIO_ACTIVE_HIGH>;
	max-link-speed = <2>;
	status = "okay";
};

&pinctrl_ap {
	pcie0_clkreq: pcie0-clkreq-pins {
		pinmux = <APPLE_PINMUX(101, 2)>;
	};

	uart4_rx: uart4-rx-pins {
		pinmux = <APPLE_PINMUX(85, 2)>;
	};

	uart5_rx: uart5-rx-pins {
		pinmux = <APPLE_PINMUX(169, 3)>;
	};
};

/*
 * Wi-Fi (uart4) and Bluetooth (uart5) firmware debug output. Only the
 * receive line is routed; the ports stay closed unless a user opens them.
 */
&uart4 {
	pinctrl-0 = <&uart4_rx>;
	pinctrl-names = "default";
	/* The PMGR clock provider is not enabled on this SoC yet. */
	clocks = <&clkref>, <&clkref>;
	status = "okay";
};

&uart5 {
	pinctrl-0 = <&uart5_rx>;
	pinctrl-names = "default";
	/* The PMGR clock provider is not enabled on this SoC yet. */
	clocks = <&clkref>, <&clkref>;
	status = "okay";
};

/* SID17 bootstrap; the arena stays owned until a full reset. */
&pcie0_dart {
	status = "okay";
	apple,dma-range = /bits/ 64 <0 0x1000000000>;
};

/ {
	pcie0_bootstrap: piodma@390030000 {
		compatible = "apple,t8140-pcie-bootstrap",
			     "apple,t8140-piodma-diagnostic";
		reg = <0x3 0x90030000 0x0 0x4000>,
		      <0x3 0x90034000 0x0 0x4000>,
		      <0x3 0x90038000 0x0 0x4000>;
		reg-names = "engine", "irq-aggregator", "fabric";
		interrupt-parent = <&aic>;
		interrupts = <AIC_IRQ 1207 IRQ_TYPE_LEVEL_HIGH>;
		power-domains = <&ps_apcie_gp>;
		iommus = <&pcie0_dart 17>;
		apple,pcie-host = <&pcie0>;
	};
};

&pcie0_port0 {
	bus-range = <1 1>;
	wifi0: wifi@0,0 {
		compatible = "pci14c3,7932";
		reg = <0x10000 0 0 0 0>;
		/* Public m1n1 supplies this device's address at boot. */
		local-mac-address = [00 00 00 00 00 00];
	};
};

/* The loader publishes external resources after validating their firmware. */
#include "t8140-j700-dcpext.dtsi"
#include "t8140-j700-dpaudio.dtsi"

&sleep {
	apple,display-coprocessors = <&dcp>, <&dcpext>;
};

&display {
	iommus = <&disp0_dart 0>, <&dispext0_dart 0>;
};

&dcpext {
	clocks = <&clk_disp0_154>, <&clk_disp0_194>;
	clock-names = "clock-154", "clock-194";
	phys = <&atcphy0 PHY_TYPE_DP>;
	phy-names = "typec0";
	mux-controls = <&dpxbar0 0>;
	mux-control-names = "typec0";
	apple,typec-mux-indices = <2>;
	apple,typec-dptx-phys = <0>;
	apple,dcp-index = <1>;
};

&{/soc/dcp@416e00000/typec-routes/route@0} {
	status = "okay";
};

/* Allocate scanout buffers in the window used by the inherited firmware. */
&dcpext0_dart {
	apple,dma-range = <0x100 0x0 0x10 0x0>;
};

/*
 * The ANE starts at boot only after a raw loader hand-off (the filled
 * firmware preload reservations and /chosen/apple,ane-cold-boot); with an
 * older loader its driver leaves the engine alone.
 */
&ane {
	status = "okay";
};

&ane_dart0 {
	status = "okay";
};

&ane_dart1 {
	status = "okay";
};

&ane_dart2 {
	status = "okay";
};
